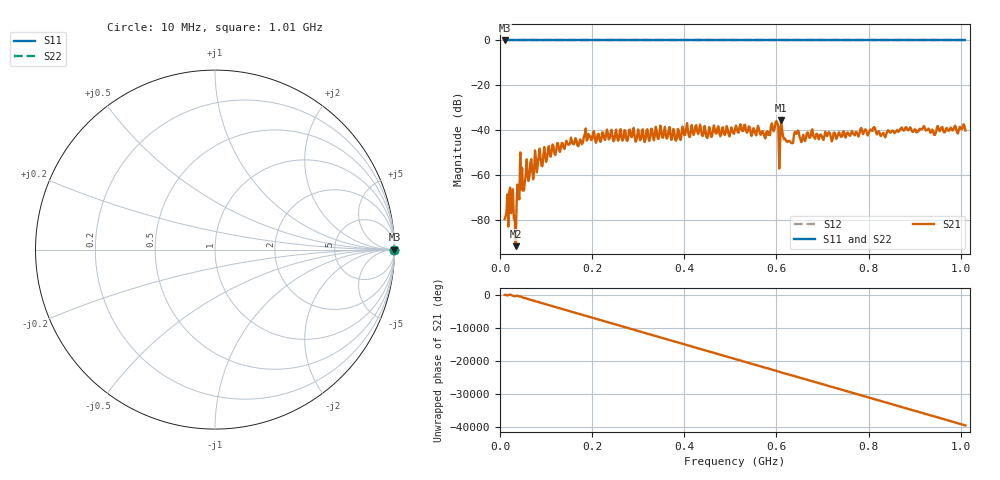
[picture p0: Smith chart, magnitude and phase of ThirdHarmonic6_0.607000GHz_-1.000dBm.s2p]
! 8/15/2025 7:52:39 PM
! C:\ANRITSUVNA\TEMP\TEMP.S2P
! CHANNEL.1
! TR.MEASUREMENT
! RAW.DATA
! RF.CORRECTION.OFF
! AVERAGING.OFF
! IF.BANDWIDTH: 5KHZ
! SWEEPTYPE:  FREQ.SWEEP(Linear)
! Reference Plane Port Info
! PORT:  PORT1  PORT2
! DISTANCE:  0  m  0  m
! TIME:  0  s  0  s
! PHASE.OFFSET:  0  deg.  0  deg.
! LOSS:  0  dB  0  dB
! REF.LOSS:  0  dB  0  dB
! REF.FREQ:  0  Hz  0  Hz
! Power Info
! POWER:  -20  dBm  -20  dBm
! EFF.POWER:  -20  dBm  -20  dBm
! SOURCE.ATTEN:  0  dB  0  dB
! TEST.ATTEN:  0  dB  0  dB
# GHZ S RI R 50.0
! FREQ.GHZ  S11RE  S11IM  S21RE  S21IM  S12RE  S12IM  S22RE  S22IM
!; PortSelection: Port_12
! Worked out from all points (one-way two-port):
!   501 points, 10 MHz to 1.01 GHz, reference 50 ohm
!   highest |S21| = -35.55 dB at 610 MHz (marker M1); lowest = -91.7 dB at 34 MHz (marker M2)
!   lowest |S11| = 0.0 dB at 10 MHz (marker M3)
!   |S11| at or under -10 dB: nowhere
!   |S22| runs from 0.0 to 0.0 dB; largest |S21 - S12| = 1
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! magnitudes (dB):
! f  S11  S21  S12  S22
! 10 MHz  0.0  -79.6  0.0  0.0
! 24 MHz  0.0  -77.0  0.0  0.0
! 28 MHz  0.0  -66.3  0.0  0.0
! 34 MHz  0.0  -91.7  0.0  0.0
! 44 MHz  0.0  -49.9  0.0  0.0
! 50 MHz  0.0  -67.0  0.0  0.0
! 80 MHz  0.0  -58.8  0.0  0.0
! 178 MHz  0.0  -46.2  0.0  0.0
! 188 MHz  0.0  -44.6  0.0  0.0
! 344 MHz  0.0  -43.9  0.0  0.0
! 510 MHz  0.0  -39.8  0.0  0.0
! 578 MHz  0.0  -40.8  0.0  0.0
! 600 MHz  0.0  -35.9  0.0  0.0
! 604 MHz  0.0  -38.4  0.0  0.0
! 610 MHz  0.0  -35.5  0.0  0.0
! 614 MHz  0.0  -42.4  0.0  0.0
! 632 MHz  0.0  -45.7  0.0  0.0
! 644 MHz  0.0  -41.6  0.0  0.0
! 658 MHz  0.0  -42.1  0.0  0.0
! 678 MHz  0.0  -39.6  0.0  0.0
! 844 MHz  0.0  -40.3  0.0  0.0
! 1.01 GHz  0.0  -40.1  0.0  0.0
